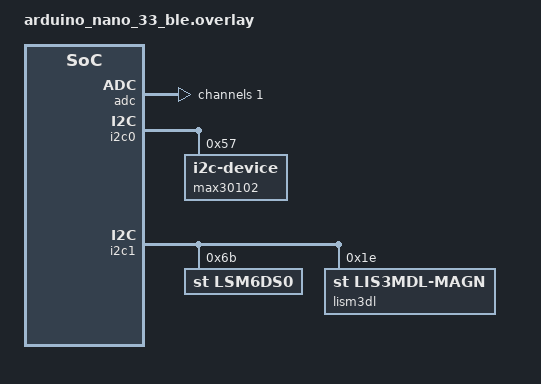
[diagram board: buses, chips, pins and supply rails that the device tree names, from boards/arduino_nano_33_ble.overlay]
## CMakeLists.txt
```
cmake_minimum_required(VERSION 3.20.0)
find_package(Zephyr REQUIRED HINTS $ENV{ZEPHYR_BASE})

project(untitled)

target_sources(app PRIVATE src/main.c)
FILE(GLOB app_sources src/*.c)
target_sources(app PRIVATE ${app_sources})
```

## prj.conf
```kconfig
CONFIG_I2C=y
CONFIG_CBPRINTF_FP_SUPPORT=y
CONFIG_LOG=y

CONFIG_SENSOR=y
CONFIG_LSM6DS0=y

CONFIG_ADC=y

CONFIG_BT=y
CONFIG_BT_PERIPHERAL=y
CONFIG_BT_DEVICE_NAME="Heartrate_BLE"
CONFIG_BT_DEVICE_APPEARANCE=0



CONFIG_BT_SMP=y
CONFIG_BT_DIS=y
CONFIG_BT_DIS_PNP=n
CONFIG_BT_HRS=y
```

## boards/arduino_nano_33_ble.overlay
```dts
&adc {
	status = "okay";
	#address-cells = <1>;
	#size-cells = <0>;

	channel@1 {/*This corresponds to the A7 pin on the arduino */
		reg = <1>;
		zephyr,gain = "ADC_GAIN_1";
		zephyr,reference = "ADC_REF_INTERNAL";
		zephyr,acquisition-time = <ADC_ACQ_TIME_DEFAULT>;
		zephyr,resolution = <10>;
		zephyr,input-positive = < NRF_SAADC_AIN1>;
	};
};

&i2c0{
	max30102: max30102@57{
	compatible = "i2c-device";
	status = "okay";
	reg = <0x57>;
	};
};
&i2c1 {
	lsm6ds0@6b{
		compatible = "st,lsm6ds0";
		reg = <0x6b>;
		status = "okay";
	};
	lism3dl@1e{/*Even though this is not being used it needs to be here so the lsm6ds0 gets recognized*/
		compatible = "st,lis3mdl-magn";
		reg = <0x1e>;
		status = "okay";
	};
};
```

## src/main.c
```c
#include <zephyr/kernel.h>
#include <zephyr/device.h>
#include <zephyr/devicetree.h>
#include <zephyr/sys/util.h>
#include <zephyr/drivers/i2c.h>
#include <zephyr/logging/log.h>
#include "MAX30102.h"
#include <zephyr/drivers/sensor.h>
#include <zephyr/drivers/adc.h>

#include <zephyr/bluetooth/bluetooth.h>
#include <zephyr/bluetooth/conn.h>
#include <zephyr/bluetooth/gatt.h>
#include <zephyr/bluetooth/uuid.h>

#include <zephyr/types.h>
#include <stddef.h>
#include <string.h>
#include <errno.h>
#include <zephyr/sys/printk.h>
#include <zephyr/sys/byteorder.h>
#include <zephyr/bluetooth/hci.h>
#include <zephyr/bluetooth/services/hrs.h>

LOG_MODULE_REGISTER(BLE_Heartrate);

/*========================BLE Setup===========================*/
//UUID of the custom service for sending data
#define BT_UUID_CUSTOM_SERVICE_VAL BT_UUID_128_ENCODE(0x140c0497,0x8cec,0x45ad,0x95f7,0xd12a25fac2f9)
#define BT_UUID_CUSTOM_SERVICE BT_UUID_DECLARE_128(BT_UUID_CUSTOM_SERVICE_VAL)
//UUID of the custom gyroscope characteristic
#define BT_UUID_CUSTOM_GYRO_CHAR_VAL BT_UUID_128_ENCODE(0x140c0497,0x8cec,0x45ad,0x95f7,0xd12a25fac2f0)
#define BT_UUID_CUSTOM_GYRO_CHAR BT_UUID_DECLARE_128(BT_UUID_CUSTOM_GYRO_CHAR_VAL)

/*Data to be sent over BLE*/
uint32_t Heartbeat;

/*========================BLE Setup===========================*/
/*BLE code from the Bluetooth HR zephyr sample*/
static const struct bt_data ad[] = {
	BT_DATA_BYTES(BT_DATA_FLAGS, (BT_LE_AD_GENERAL | BT_LE_AD_NO_BREDR)),
	BT_DATA_BYTES(BT_DATA_UUID16_ALL,
		      BT_UUID_16_ENCODE(BT_UUID_HRS_VAL),
		      BT_UUID_16_ENCODE(BT_UUID_DIS_VAL))
};

static void connected(struct bt_conn *conn, uint8_t err){
	if (err) {
		printk("Connection failed (err 0x%02x)\n", err);
	} else {
		printk("Connected\n");
	}
}

static void disconnected(struct bt_conn *conn, uint8_t reason){
	printk("Disconnected (reason 0x%02x)\n", reason);
}

BT_CONN_CB_DEFINE(conn_callbacks) = {
	.connected = connected,
	.disconnected = disconnected,
};

static void bt_ready(void){
	int err;
	printk("Bluetooth initialized\n");
	err = bt_le_adv_start(BT_LE_ADV_CONN_NAME, ad, ARRAY_SIZE(ad), NULL, 0);
	if (err) {
		printk("Advertising failed to start (err %d)\n", err);
		return;
	}
	printk("Advertising successfully started\n");
}

static void auth_cancel(struct bt_conn *conn){
	char addr[BT_ADDR_LE_STR_LEN];
	bt_addr_le_to_str(bt_conn_get_dst(conn), addr, sizeof(addr));
	printk("Pairing cancelled: %s\n", addr);
}

static struct bt_conn_auth_cb auth_cb_display = {
	.cancel = auth_cancel,
};

static void hrs_notify(uint32_t max30102_heartrate){
	uint8_t heartrate = max30102_heartrate;
	bt_hrs_notify(heartrate);
}
/*======================MAX30102 Setup=========================*/
static const struct i2c_dt_spec max30102_dev = I2C_DT_SPEC_GET(DT_NODELABEL(max30102));
/*========================I2C Accel Start===========================*/
const struct device *const lsm6ds0 = DEVICE_DT_GET_ONE(st_lsm6ds0);
/*========================ADC Setup===========================*/
#define ADC_RESOLUTION 10
#define ADC_CHANNEL 1
const struct device *dev_adc = DEVICE_DT_GET(DT_NODELABEL(adc));
static const struct adc_channel_cfg channel_cfg = ADC_CHANNEL_CFG_DT(DT_CHILD(DT_NODELABEL(adc), channel_1));
int16_t force_value[1];
struct adc_sequence adc_seq ={
	.channels = BIT(ADC_CHANNEL),
	.buffer = force_value,
	.buffer_size = sizeof(force_value),
	.resolution = ADC_RESOLUTION
};

int main(void)
{
	/*======================MAX30102 Start=========================*/
	/*Check if device is ready*/
	while(!device_is_ready(max30102_dev.bus)){
			LOG_INF("MAX30102 is not ready\n");
	}
	/*========================ADC Start===========================*/
	int err;
	if (!device_is_ready(dev_adc)) {
		LOG_INF("%s: device not ready.\n", dev_adc->name);
		return 0;
	}
	err = adc_channel_setup(dev_adc, &channel_cfg);
	if (err != 0){
		LOG_INF("ADC channel setup failed with error %d\n",err);
		return 0;
	}
	/*========================I2C Accel Start===========================*/
	if (!device_is_ready(lsm6ds0)) {
		LOG_INF("%s: device not ready.\n", lsm6ds0->name);
		//return 0;
	}
	/*========================BLE Start===========================*/
	err = bt_enable(NULL);
	if (err) {
		printk("Bluetooth init failed (err %d)\n", err);
		return 0;
	}
	bt_ready();
	bt_conn_auth_cb_register(&auth_cb_display);

	uint8_t SPO2;
	struct sensor_value accel_xyz[3];
	struct sensor_value gyro_xyz[3];
	bool activate_heartbeat = false;

	/*Values of previous measurements to calculate change*/
	float previous_accel_xyz[3] = {0};
	float previous_gyro_xyz[3] = {0};
	uint32_t previous_heartbeat[8] = {1};
	bool valid_heartbeat;
	uint8_t heartbeat_count = 0;
	/* If the force sensor return a value and the accel sensors
	values change turn on the heartbeat sensor. While the heartbeat
	sensor returns a non-zero value keep it active and sending values.
	Otherwise turn it off and wait for the accel and force sensors
	to turn it back on.
	*/
	while(1){
		err = adc_read(dev_adc, &adc_seq);
		if(err != 0){
			LOG_INF("ADC read failed with error %d\n",err);
			return 0;
		}
		/* Get sensor samples */
		if (sensor_sample_fetch(lsm6ds0) < 0) {
			LOG_INF("LSM6DS0 Sensor sample update error\n");
			return 0;
		}
		/* Get sensor data */
		sensor_channel_get(lsm6ds0, SENSOR_CHAN_ACCEL_XYZ, accel_xyz);
		sensor_channel_get(lsm6ds0, SENSOR_CHAN_GYRO_XYZ,gyro_xyz);
		/*If the accel/gyro moves and the force sensor is above a threshold, activate*/
		if((previous_gyro_xyz[0] != sensor_value_to_float(&gyro_xyz[0]) ||
			previous_gyro_xyz[1] != sensor_value_to_float(&gyro_xyz[1]) ||
			previous_gyro_xyz[2] != sensor_value_to_float(&gyro_xyz[2]) ||
			previous_accel_xyz[0] != sensor_value_to_float(&accel_xyz[0]) ||
			previous_accel_xyz[1] != sensor_value_to_float(&accel_xyz[1]) ||
			previous_accel_xyz[2] != sensor_value_to_float(&accel_xyz[2])) &&
			(force_value[0] > 500)){
				activate_heartbeat = true;
			}
		/*Store the previous values for future comparison*/
		previous_gyro_xyz[0] = sensor_value_to_float(&gyro_xyz[0]);
		previous_gyro_xyz[1] = sensor_value_to_float(&gyro_xyz[1]);
		previous_gyro_xyz[2] = sensor_value_to_float(&gyro_xyz[2]);
		previous_accel_xyz[0] = sensor_value_to_float(&accel_xyz[0]);
		previous_accel_xyz[1] = sensor_value_to_float(&accel_xyz[1]);
		previous_accel_xyz[2] = sensor_value_to_float(&accel_xyz[2]);
		while(activate_heartbeat){
			MAX_30102_start_collecting_data(max30102_dev);
			MAX_30102_SPO2_Heartrate(max30102_dev, &SPO2, &Heartbeat);
			LOG_INF("%d O2  %d BPM\n",SPO2,Heartbeat);
			hrs_notify(Heartbeat);
			/*Check if there is a valid heartbeat in the previous values,
			if not deactivate the sensor*/
			previous_heartbeat[heartbeat_count%8] = Heartbeat; 
			heartbeat_count++;
			valid_heartbeat = false;
			for (int i = 0; i < 8; i++){
				if(previous_heartbeat[i] != 0){
					valid_heartbeat = true;
				}
			}
			if(!valid_heartbeat){
				activate_heartbeat = false;
				/*Restoring the values so the next loop will have enough time for a new valid value*/
				for (int i = 0; i < 8; i++){
					previous_heartbeat[i] = 1; 
				}
			}
			k_sleep(K_SECONDS(1));
		}
		MAX_30102_end_collecting_data(max30102_dev);
		k_sleep(K_SECONDS(1));  // 1 second delay between updating sensor values
	}
}
```

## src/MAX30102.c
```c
#include <zephyr/logging/log.h>
#include <zephyr/drivers/i2c.h>

int MAX_30102_start_collecting_data(struct i2c_dt_spec max30102){
	uint8_t wbuf[2] = {0,1};
	if (i2c_burst_write_dt(&max30102,0x20,wbuf, sizeof(wbuf))){
		//LOG_ERR("Failed while starting MAX30102 \n");
	}
	return 0;
}
int MAX_30102_end_collecting_data(struct i2c_dt_spec max30102){
	uint8_t wbuf[2] = {0,2};
	if (i2c_burst_write_dt(&max30102,0x20,wbuf, sizeof(wbuf))){
		//LOG_ERR("Failed while starting MAX30102 \n");
	}
	return 0;
} 
int MAX_30102_SPO2_Heartrate(struct i2c_dt_spec max30102, uint8_t *spo2, uint32_t *heartbeat){
	uint8_t buffer[8];
	if(i2c_burst_read_dt(&max30102,0x0c,buffer,sizeof(buffer))){
		//LOG_ERR("Failed while reading MAX30102\n");
	}	
	// Based on the code from https://github.com/DFRobot/DFRobot_BloodOxygen_S/blob/master/DFRobot_BloodOxygen_S.cpp
	*spo2 = buffer[0];
	*heartbeat = ((uint32_t)buffer[2] << 24) | ((uint32_t)buffer[3] << 16) | ((uint32_t)buffer[4] << 8) | ((uint32_t)buffer[5]);
	return 0;
} 
```

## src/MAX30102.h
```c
#ifndef MAX30102_H
#define MAX30102_H

#include <zephyr/logging/log.h>
#include <zephyr/drivers/i2c.h>

int MAX_30102_start_collecting_data(struct i2c_dt_spec max30102);
int MAX_30102_end_collecting_data(struct i2c_dt_spec max30102);
int MAX_30102_SPO2_Heartrate(struct i2c_dt_spec max30102, uint8_t *spo2, uint32_t *heartbeat);


#endif
```

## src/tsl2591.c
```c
#include <zephyr/kernel.h>
#include <zephyr/device.h>
#include <zephyr/devicetree.h>
#include <zephyr/sys/util.h>
#include <zephyr/usb/usb_device.h>
#include <zephyr/usb/usbd.h>
#include <zephyr/drivers/uart.h>
#include <zephyr/drivers/gpio.h>
#include <zephyr/drivers/i2c.h>
#include <zephyr/logging/log.h>

LOG_MODULE_REGISTER(ble_test);


/*========================USB Setup===========================*/
BUILD_ASSERT(DT_NODE_HAS_COMPAT(DT_CHOSEN(zephyr_console), zephyr_cdc_acm_uart),
	     "Console device is not ACM CDC UART device");
#if defined(CONFIG_USB_DEVICE_STACK_NEXT)
static struct usbd_contex *sample_usbd;

static int enable_usb_device_next(void)
{
	int err;

	sample_usbd = sample_usbd_init_device();
	if (sample_usbd == NULL) {
		return -ENODEV;
	}

	err = usbd_enable(sample_usbd);
	if (err) {
		return err;
	}

	return 0;
}
#endif /* IS_ENABLED(CONFIG_USB_DEVICE_STACK_NEXT) */
/*======================I2C Setup=========================*/
#define I2C0_NODE DT_NODELABEL(tsl2591)
#define TSL2591_I2C_ADDRESS 0x28

#define ENABLE_REGISTER_ADDRESS 0x00
#define CONFIG_REGISTER_ADDRESS 0x01

#define INTERRUPT_AILTL_REGISTER 0x04
#define INTERRUPT_AILTH_REGISTER 0x05
#define INTERRUPT_AIHTL_REGISTER 0x06
#define INTERRUPT_AIHTH_REGISTER 0x07
#define INTERRUPT_NPAILTL_REGISTER 0x08
#define INTERRUPT_NPAILTH_REGISTER 0x09
#define INTERRUPT_NPAIHTL_REGISTER 0x0A
#define INTERRUPT_NPAIHTH_REGISTER 0x0B
#define PERSIST_REGISTER 0x0C

#define ID_REGISTER_ADDRESS 0x12
#define C0DATAL_REGISTER_ADDRESS 0x14
#define C0DATAH_REGISTER_ADDRESS 0x15
#define C1DATAL_REGISTER_ADDRESS 0x16
#define C1DATAH_REGISTER_ADDRESS 0x17

#define COMMAND_CMD BIT(7)
#define COMMAND_TRANSACTION_NORMAL BIT(5)

static const struct i2c_dt_spec tsl2591_dev = I2C_DT_SPEC_GET(I2C0_NODE);
uint8_t als_data0_register_buffer[2]={0};
uint8_t als_data1_register_buffer[2]={0};
uint8_t part_id_buffer = 0;

uint8_t enable_command[2]= {(COMMAND_CMD | COMMAND_TRANSACTION_NORMAL | ENABLE_REGISTER_ADDRESS),0b10010011};
uint8_t disable_command[2]= {(COMMAND_CMD | COMMAND_TRANSACTION_NORMAL | ENABLE_REGISTER_ADDRESS),0b00000000};


static const int tsl2591_als_interrupt_config(const struct i2c_dt_spec dev,uint8_t low_lower,uint8_t low_upper,uint8_t high_lower,uint8_t high_upper, uint8_t peristence_value){
	int err;
	uint8_t address_byte_buffer[2]={(COMMAND_CMD | COMMAND_TRANSACTION_NORMAL | INTERRUPT_AILTL_REGISTER), low_lower};
	err=i2c_write_dt(&dev,address_byte_buffer, sizeof(address_byte_buffer));

	address_byte_buffer[0] =(COMMAND_CMD | COMMAND_TRANSACTION_NORMAL | INTERRUPT_AILTH_REGISTER);
	address_byte_buffer[1] = low_upper;
	err=i2c_write_dt(&dev,address_byte_buffer, sizeof(address_byte_buffer));

	address_byte_buffer[0] =(COMMAND_CMD | COMMAND_TRANSACTION_NORMAL | INTERRUPT_AIHTL_REGISTER);
	address_byte_buffer[1] = high_lower;
	err=i2c_write_dt(&dev,address_byte_buffer, sizeof(address_byte_buffer));

	address_byte_buffer[0] = (COMMAND_CMD | COMMAND_TRANSACTION_NORMAL | INTERRUPT_AIHTH_REGISTER);
	address_byte_buffer[1] = high_upper;
	err=i2c_write_dt(&dev,address_byte_buffer, sizeof(address_byte_buffer));

	if(peristence_value>16){
		address_byte_buffer[1] = 16;
	}
	else{
		address_byte_buffer[1] = peristence_value;
	}
	address_byte_buffer[0] = (COMMAND_CMD | COMMAND_TRANSACTION_NORMAL | PERSIST_REGISTER);
	err=i2c_write_dt(&dev,address_byte_buffer, sizeof(address_byte_buffer));
	return 0;
}

static const int tsl2591_np_interrupt_config(const struct i2c_dt_spec dev,uint8_t low_lower,uint8_t low_upper,uint8_t high_lower,uint8_t high_upper){
	int err;
	uint8_t address_byte_buffer[2]={(COMMAND_CMD | COMMAND_TRANSACTION_NORMAL | INTERRUPT_NPAILTL_REGISTER), low_lower};
	err=i2c_write_dt(&dev,address_byte_buffer, sizeof(address_byte_buffer));

	address_byte_buffer[1] = low_upper;
	address_byte_buffer[0] = (COMMAND_CMD | COMMAND_TRANSACTION_NORMAL | INTERRUPT_NPAILTH_REGISTER);
	err=i2c_write_dt(&dev,address_byte_buffer, sizeof(address_byte_buffer));

	address_byte_buffer[1] = high_lower;
	address_byte_buffer[0] = (COMMAND_CMD | COMMAND_TRANSACTION_NORMAL | INTERRUPT_NPAIHTL_REGISTER);
	err=i2c_write_dt(&dev,address_byte_buffer, sizeof(address_byte_buffer));

	address_byte_buffer[1] = high_upper;
	address_byte_buffer[0] = (COMMAND_CMD | COMMAND_TRANSACTION_NORMAL | INTERRUPT_NPAIHTH_REGISTER);
	err=i2c_write_dt(&dev,address_byte_buffer, sizeof(address_byte_buffer));
	return 0;
}

//TODO: implement the different levels of gain and integration time
uint8_t als_config_command[2] = {(COMMAND_CMD | COMMAND_TRANSACTION_NORMAL | CONFIG_REGISTER_ADDRESS),0b00010000};
/*Set the ALS gain and integration time*/
static const int tsl2591_config(){
	int err;
	err = i2c_write_dt(&tsl2591_dev,als_config_command,sizeof(als_config_command));
	if(err != 0){
		printk("Failed while configuring TSL2591 \n");
	}
	return 0;
}

static const int tsl2591_read(const struct i2c_dt_spec dev, uint8_t reg_address, uint8_t *read_buf, uint8_t read_size){
	int err;
	uint8_t reg_cmd = (COMMAND_CMD | COMMAND_TRANSACTION_NORMAL | reg_address);
	err = i2c_write_read_dt(&dev,  &reg_cmd, 1U, read_buf, read_size);
	if(err != 0){
		printk("Failed while reading TSL2591 %x \n",reg_address);
	}
	return 0;
}
static const int tsl2591_sample_fetch(const struct i2c_dt_spec dev, uint8_t *ch0_buffer, uint8_t *ch1_buffer){
	int err;
	printf("Enter sample\n");
	/*Enable the sensor*/
	err=i2c_write_dt(&dev,enable_command,sizeof(enable_command));
	if(err != 0){
		printk("Failed while enabling TSL2591 \n");
	}
	k_sleep(K_MSEC(120));
	/*Read the sensor data*/
	err = tsl2591_read(dev, C0DATAL_REGISTER_ADDRESS, ch0_buffer, 2U);

	if(err != 0){
		printk("Failed while reading TSL2591 channel0\n");
	}
	err = tsl2591_read(dev, C1DATAL_REGISTER_ADDRESS, ch1_buffer, 2U);

	if(err != 0){
		printk("Failed while reading TSL2591 channel1\n");
	}
	/*Disable the sensor*/
	err=i2c_write_dt(&dev,disable_command,sizeof(disable_command));
	if(err != 0){
		printk("Failed while disabling TSL2591 \n");
	}
	return 0;
}

/**************************************************************/
/****************************Main******************************/
/**************************************************************/
int main(void)
{
	/*========================USB Start===========================*/
    const struct device *const dev = DEVICE_DT_GET(DT_CHOSEN(zephyr_console));
	uint32_t dtr = 0;
	#if defined(CONFIG_USB_DEVICE_STACK_NEXT)
		if (enable_usb_device_next()) {
			return 0;
		}
	#else
		if (usb_enable(NULL)) {
			return 0;
		}
	#endif
	while (!dtr) {
		uart_line_ctrl_get(dev, UART_LINE_CTRL_DTR, &dtr);
		/* Give CPU resources to low priority threads. */
		k_sleep(K_MSEC(100));
	}
	/*======================I2C Start=========================*/
	/*Check if device is ready*/
	if(!device_is_ready(tsl2591_dev.bus)){
			printf("TSL2591 is not ready\n");
	}
	int err;
	/*Check if device part ID matches*/
	err = tsl2591_read(tsl2591_dev, ID_REGISTER_ADDRESS, &part_id_buffer, 1U);
	if(err != 0){
		printk("Failed while reading TSL2591 ID \n");
	}
	if(part_id_buffer != 0x50){
		printk("TSL2591 part ID does not match\n");
	}
	/*Enable the sensor*/
	err=i2c_write_dt(&tsl2591_dev,enable_command,sizeof(enable_command));
	if(err != 0){
		printk("Failed while enabling TSL2591 \n");
	}
	tsl2591_config();
	/***************************************************************/
	/****************************while******************************/
	/***************************************************************/
	tsl2591_np_interrupt_config(tsl2591_dev,90,0,13,0);
	while (1) {
		//tsl2591_sample_fetch(tsl2591_dev, als_data0_register_buffer, als_data1_register_buffer);
		printf("%d %d %d %d\n", als_data0_register_buffer[0], als_data0_register_buffer[1], als_data1_register_buffer[0], als_data1_register_buffer[1]);
        printf("Printing fine\n");
		k_sleep(K_SECONDS(2));
	}
}
```
